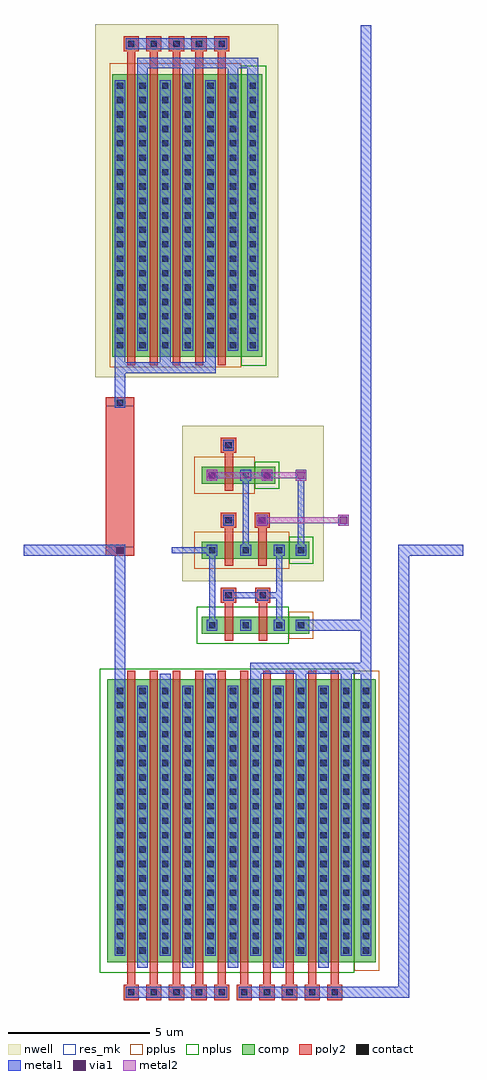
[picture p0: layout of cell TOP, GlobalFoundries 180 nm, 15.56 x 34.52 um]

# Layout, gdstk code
import gdstk
lib = gdstk.Library(unit=1e-6, precision=1e-09)
def R(c, l, rs):  # rectangles x0, y0, x1, y1
    for r in rs: c.add(gdstk.rectangle(r[:2], r[2:], *l))
def A(c, l, x, y, w, h, nx, ny, dx, dy):  # array of equal rectangles
    R(c, l, [(x+i*dx, y+j*dy, x+i*dx+w, y+j*dy+h) for i in range(nx) for j in range(ny)])
nwell = (21, 0)
comp = (22, 0)
poly2 = (30, 0)
pplus = (31, 0)
nplus = (32, 0)
contact = (33, 0)
metal1 = (34, 0)
via1 = (35, 0)
metal2 = (36, 0)
res_mk = (110, 5)

top = lib.new_cell('TOP')
R(top, nwell, [(6.97,1.81,11.97,7.31), (3.9,9.02,10.371,21.52)])
R(top, comp, [(4.32,-11.656,13.821,-1.655), (7.67,-0.04,11.47,0.56), (7.67,2.61,11.47,3.21), (7.67,5.26,10.27,5.86), (4.5,9.75,9.801,19.75)])
A(top, poly2, 4.9, -12.996, 0.54, 0.54, 10, 1, 0.8, 0)
A(top, poly2, 5.03, -12.456, 0.28, 11.101, 10, 1, 0.8, 0)
A(top, poly2, 8.47, -0.29, 0.3, 1.34, 1, 3, 0, 2.65)
A(top, poly2, 8.34, 1.05, 0.54, 0.54, 1, 3, 0, 2.65)
A(top, poly2, 5.03, 9.45, 0.28, 11.1, 5, 1, 0.8, 0)
A(top, poly2, 4.9, 20.55, 0.54, 0.54, 5, 1, 0.8, 0)
R(top, poly2, [(9.68,-0.29,9.98,1.05), (9.55,1.05,10.09,1.59), (9.66,2.36,9.96,3.7), (4.27,2.72,5.27,8.32), (4.27,2.72,5.27,8.32), (9.53,3.7,10.07,4.24)])
R(top, pplus, [(13.06,-11.956,13.94,-1.345), (10.745,-0.215,11.6,0.735), (7.4,2.26,10.75,3.56), (7.395,4.91,9.545,6.21), (4.41,9.375,9.061,20.125)])
R(top, nplus, [(4.06,-12.031,13.061,-1.28), (7.495,-0.39,10.745,0.91), (10.75,2.44,11.605,3.39), (9.545,5.09,10.4,6.04), (9.061,9.44,9.941,20.05)])
A(top, contact, 5.06, -12.836, 0.22, 0.22, 10, 1, 0.8, 0)
A(top, contact, 4.66, -11.356, 0.22, 0.22, 5, 5, 0.8, 0.51)
A(top, contact, 8.66, -11.356, 0.221, 0.22, 1, 5, 0, 0.51)
A(top, contact, 9.46, -11.356, 0.22, 0.22, 5, 5, 0.8, 0.51)
A(top, contact, 13.36, -11.356, 0.22, 0.22, 1, 5, 0, 0.51)
A(top, contact, 4.66, -8.806, 0.22, 0.221, 5, 1, 0.8, 0)
A(top, contact, 9.46, -8.806, 0.22, 0.221, 5, 1, 0.8, 0)
A(top, contact, 4.66, -8.295, 0.22, 0.22, 5, 13, 0.8, 0.51)
A(top, contact, 8.66, -8.295, 0.221, 0.22, 1, 13, 0, 0.51)
A(top, contact, 9.46, -8.295, 0.22, 0.22, 5, 13, 0.8, 0.51)
A(top, contact, 13.36, -8.295, 0.22, 0.22, 1, 13, 0, 0.51)
A(top, contact, 7.92, 0.15, 0.22, 0.22, 1, 3, 0, 2.65)
A(top, contact, 9.11, 0.15, 0.22, 0.22, 1, 3, 0, 2.65)
A(top, contact, 8.5, 1.21, 0.22, 0.22, 1, 3, 0, 2.65)
A(top, contact, 4.66, 10.05, 0.22, 0.22, 5, 19, 0.8, 0.51)
A(top, contact, 8.66, 10.05, 0.221, 0.22, 1, 19, 0, 0.51)
A(top, contact, 9.36, 10.05, 0.22, 0.22, 1, 19, 0, 0.51)
A(top, contact, 5.06, 20.71, 0.22, 0.22, 5, 1, 0.8, 0)
R(top, contact, [(8.66,-8.806,8.881,-8.585), (13.36,-8.806,13.58,-8.585), (10.29,0.15,10.51,0.37), (11.06,0.15,11.28,0.37), (9.71,1.21,9.93,1.43), (4.66,2.8,4.88,3.02), (4.66,2.8,4.88,3.02), (10.29,2.8,10.51,3.02), (11.06,2.8,11.28,3.02), (9.69,3.86,9.91,4.08), (9.86,5.45,10.08,5.67), (4.66,8.02,4.88,8.24), (4.66,8.02,4.88,8.24)])
A(top, metal1, 4.98, -12.916, 0.38, 0.38, 10, 1, 0.8, 0)
A(top, metal1, 4.58, -11.436, 0.38, 9.561, 5, 1, 0.8, 0)
A(top, metal1, 9.38, -11.436, 0.38, 9.561, 5, 1, 0.8, 0)
A(top, metal1, 6.18, -1.875, 0.38, 0.42, 5, 1, 1.6, 0)
A(top, metal1, 7.84, 0.07, 0.38, 0.38, 1, 3, 0, 2.65)
A(top, metal1, 9.03, 0.07, 0.38, 0.38, 1, 3, 0, 2.65)
A(top, metal1, 10.98, 0.07, 0.38, 0.38, 1, 3, 0, 2.65)
A(top, metal1, 8.42, 1.13, 0.38, 0.38, 1, 3, 0, 2.65)
A(top, metal1, 4.58, 9.97, 0.38, 9.56, 5, 1, 0.8, 0)
A(top, metal1, 4.98, 20.63, 0.38, 0.38, 5, 1, 0.8, 0)
R(top, metal1, [(4.98,-12.916,8.56,-12.536), (8.98,-12.916,12.56,-12.536), (12.18,-12.916,15,-12.536), (14.62,-12.916,15,3.1), (5.38,-11.856,5.76,-11.436), (6.98,-11.856,7.36,-11.436), (8.58,-11.856,8.961,-11.436), (10.18,-11.856,10.56,-11.436), (11.78,-11.856,12.16,-11.436), (8.58,-11.436,8.961,-1.875), (13.28,-11.436,13.66,-1.875), (4.58,-1.875,4.96,3.1), (13.28,-1.875,13.66,-1.455), (9.38,-1.455,13.66,-1.075), (13.28,-1.075,13.66,21.48), (10.21,0.07,10.59,0.45), (10.98,0.07,13.66,0.45), (7.92,0.45,8.14,2.72), (10.29,0.45,10.51,2.72), (9.63,1.13,10.01,1.51), (8.8,1.21,9.63,1.43), (10.01,1.21,10.51,1.43), (1.36,2.72,4.96,3.1), (4.58,2.72,4.96,3.1), (4.58,2.72,4.96,3.1), (10.21,2.72,10.59,3.1), (14.62,2.72,16.92,3.1), (6.61,2.8,8.14,3.02), (9.11,3.1,9.33,5.37), (11.06,3.1,11.28,5.37), (9.61,3.78,9.99,4.16), (12.49,3.78,12.87,4.16), (9.78,5.37,10.16,5.75), (4.58,7.94,4.96,8.32), (4.58,7.94,4.96,8.32), (4.58,7.94,4.96,9.97), (4.58,9.17,8.16,9.55), (6.18,9.55,6.56,9.97), (7.78,9.55,8.16,9.97), (8.58,9.97,8.961,19.53), (9.28,9.97,9.66,19.53), (5.38,19.53,5.76,19.95), (6.98,19.53,7.36,19.95), (8.58,19.53,8.961,19.95), (9.28,19.53,9.66,19.95), (5.38,19.95,9.66,20.33), (4.98,20.63,8.56,21.01)])
R(top, via1, [(4.64,2.78,4.9,3.04), (4.64,2.78,4.9,3.04), (9.67,3.84,9.93,4.1), (12.55,3.84,12.81,4.1), (7.9,5.43,8.16,5.69), (9.84,5.43,10.1,5.69), (11.04,5.43,11.3,5.69)])
R(top, metal2, [(9.61,3.78,9.99,4.16), (12.49,3.78,12.87,4.16), (9.69,3.86,12.79,4.08), (7.84,5.37,8.22,5.75), (9.78,5.37,10.16,5.75), (10.98,5.37,11.36,5.75), (7.92,5.45,11.28,5.67)])
R(top, res_mk, [(4.27,3.02,5.27,8.02), (4.27,3.02,5.27,8.02)])

lib.write_gds('TOP.gds')
